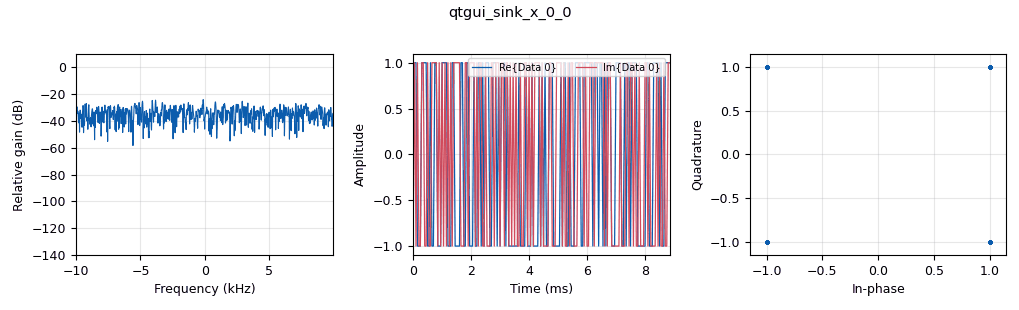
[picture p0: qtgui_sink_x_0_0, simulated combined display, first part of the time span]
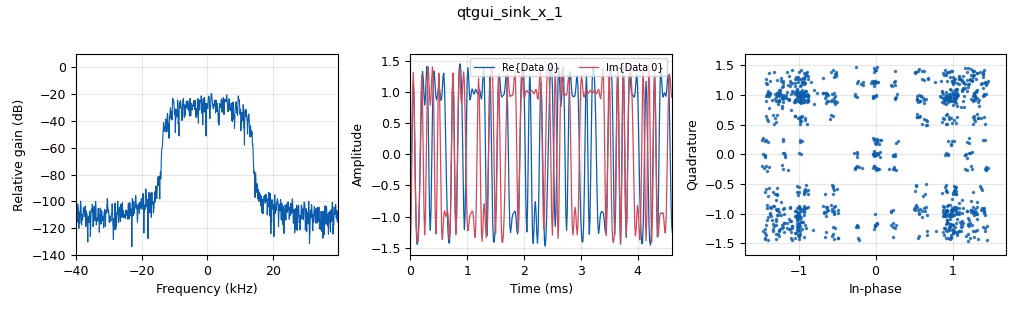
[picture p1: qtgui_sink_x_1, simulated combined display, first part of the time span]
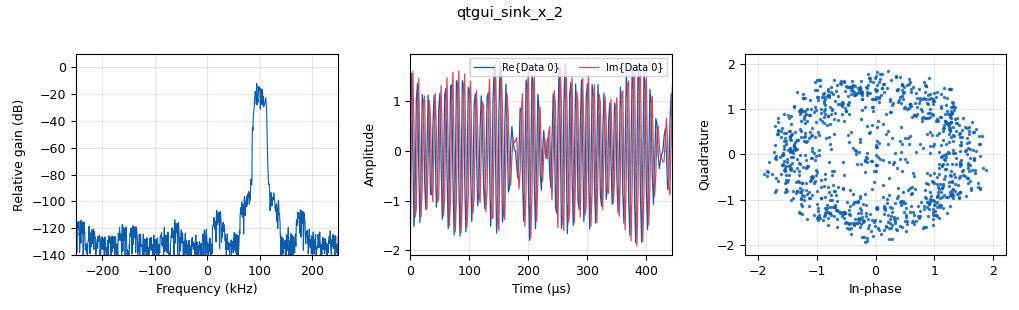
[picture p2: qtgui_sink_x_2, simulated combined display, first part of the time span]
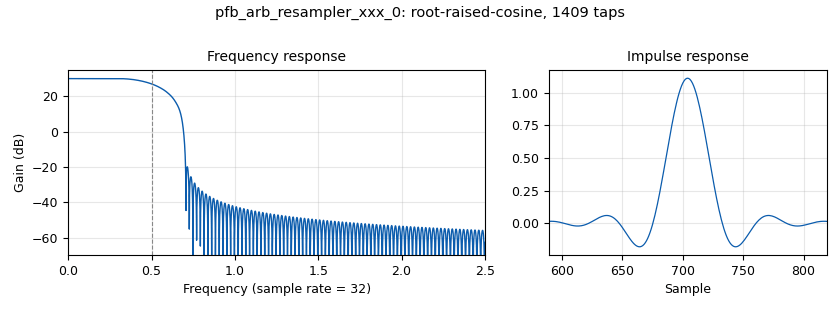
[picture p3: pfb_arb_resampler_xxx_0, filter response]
<?xml version='1.0' encoding='utf-8'?>
<?grc format='1' created='3.7.13'?>
<flow_graph>
<block>
<key>options</key>
<param><key>id</key><value>top_block</value></param>
<param><key>generate_options</key><value>qt_gui</value></param>
</block>
<block>
<key>variable</key>
<param><key>id</key><value>const_points</value></param>
<param><key>value</key><value>4</value></param>
</block>
<block>
<key>variable</key>
<param><key>id</key><value>excess_bw</value></param>
<param><key>value</key><value>0.4</value></param>
</block>
<block>
<key>variable</key>
<param><key>id</key><value>nfilts</value></param>
<param><key>value</key><value>32</value></param>
</block>
<block>
<key>variable</key>
<param><key>id</key><value>ntaps</value></param>
<param><key>value</key><value>11*nfilts*sps</value></param>
</block>
<block>
<key>variable</key>
<param><key>id</key><value>samp_rate</value></param>
<param><key>value</key><value>20000</value></param>
</block>
<block>
<key>variable</key>
<param><key>id</key><value>sps</value></param>
<param><key>value</key><value>4</value></param>
</block>
<block>
<key>variable</key>
<param><key>id</key><value>tx_taps</value></param>
<param><key>value</key><value>firdes.root_raised_cosine(nfilts, nfilts, 1.0, excess_bw, ntaps)</value></param>
</block>
<block>
<key>analog_random_source_x</key>
<param><key>id</key><value>analog_random_source_x_0</value></param>
<param><key>max</key><value>const_points</value></param>
<param><key>min</key><value>0</value></param>
<param><key>num_samps</key><value>1000</value></param>
<param><key>type</key><value>byte</value></param>
<param><key>repeat</key><value>True</value></param>
</block>
<block>
<key>analog_sig_source_x</key>
<param><key>id</key><value>analog_sig_source_x_0</value></param>
<param><key>amp</key><value>1</value></param>
<param><key>freq</key><value>100e3</value></param>
<param><key>offset</key><value>0</value></param>
<param><key>type</key><value>complex</value></param>
<param><key>samp_rate</key><value>500e3</value></param>
<param><key>waveform</key><value>analog.GR_COS_WAVE</value></param>
</block>
<block>
<key>blocks_complex_to_real</key>
<param><key>id</key><value>blocks_complex_to_real_0</value></param>
</block>
<block>
<key>blocks_file_sink</key>
<param><key>id</key><value>blocks_file_sink_0</value></param>
<param><key>file</key><value>D:\drbha\main\sem5_iitb_material\ee340_comms_lab\GNU_Radio_practice\output1.bin</value></param>
<param><key>type</key><value>float</value></param>
</block>
<block>
<key>blocks_multiply_xx</key>
<param><key>id</key><value>blocks_multiply_xx_0</value></param>
<param><key>type</key><value>complex</value></param>
</block>
<block>
<key>blocks_throttle</key>
<param><key>id</key><value>blocks_throttle_0</value></param>
<param><key>samples_per_second</key><value>500e3</value></param>
<param><key>type</key><value>complex</value></param>
</block>
<block>
<key>blocks_throttle</key>
<param><key>id</key><value>blocks_throttle_0_0</value></param>
<param><key>samples_per_second</key><value>20e3</value></param>
<param><key>type</key><value>complex</value></param>
</block>
<block>
<key>blocks_throttle</key>
<param><key>id</key><value>blocks_throttle_1</value></param>
<param><key>samples_per_second</key><value>samp_rate*4</value></param>
<param><key>type</key><value>complex</value></param>
</block>
<block>
<key>digital_chunks_to_symbols_xx</key>
<param><key>id</key><value>digital_chunks_to_symbols_xx_0</value></param>
<param><key>dimension</key><value>1</value></param>
<param><key>in_type</key><value>byte</value></param>
<param><key>out_type</key><value>complex</value></param>
<param><key>symbol_table</key><value>((1-1j),(1+1j),(-1+1j),(-1-1j))</value></param>
</block>
<block>
<key>import</key>
<param><key>id</key><value>import_0</value></param>
<param><key>import</key><value>from math import pi</value></param>
</block>
<block>
<key>import</key>
<param><key>id</key><value>import_0_0</value></param>
<param><key>import</key><value>from gnuradio import digital</value></param>
</block>
<block>
<key>import</key>
<param><key>id</key><value>import_0_0_0</value></param>
<param><key>import</key><value>from gnuradio import filter</value></param>
</block>
<block>
<key>pfb_arb_resampler_xxx</key>
<param><key>id</key><value>pfb_arb_resampler_xxx_0</value></param>
<param><key>nfilts</key><value>32</value></param>
<param><key>rrate</key><value>sps</value></param>
<param><key>atten</key><value>100</value></param>
<param><key>taps</key><value>tx_taps</value></param>
<param><key>type</key><value>ccf</value></param>
</block>
<block>
<key>qtgui_sink_x</key>
<param><key>id</key><value>qtgui_sink_x_0_0</value></param>
<param><key>bw</key><value>samp_rate</value></param>
<param><key>fc</key><value>0</value></param>
<param><key>freqchangevar</key><value>None</value></param>
<param><key>fftsize</key><value>1024</value></param>
<param><key>showports</key><value>True</value></param>
<param><key>type</key><value>complex</value></param>
<param><key>wintype</key><value>firdes.WIN_BLACKMAN_hARRIS</value></param>
</block>
<block>
<key>qtgui_sink_x</key>
<param><key>id</key><value>qtgui_sink_x_1</value></param>
<param><key>bw</key><value>samp_rate*4</value></param>
<param><key>fc</key><value>0</value></param>
<param><key>freqchangevar</key><value>None</value></param>
<param><key>fftsize</key><value>1024</value></param>
<param><key>showports</key><value>True</value></param>
<param><key>type</key><value>complex</value></param>
<param><key>wintype</key><value>firdes.WIN_BLACKMAN_hARRIS</value></param>
</block>
<block>
<key>qtgui_sink_x</key>
<param><key>id</key><value>qtgui_sink_x_2</value></param>
<param><key>bw</key><value>samp_rate*25</value></param>
<param><key>fc</key><value>0</value></param>
<param><key>freqchangevar</key><value>None</value></param>
<param><key>fftsize</key><value>1024</value></param>
<param><key>showports</key><value>True</value></param>
<param><key>type</key><value>complex</value></param>
<param><key>wintype</key><value>firdes.WIN_BLACKMAN_hARRIS</value></param>
</block>
<block>
<key>rational_resampler_xxx</key>
<param><key>id</key><value>rational_resampler_xxx_0</value></param>
<param><key>decim</key><value>sps</value></param>
<param><key>interp</key><value>25</value></param>
<param><key>taps</key><value></value></param>
<param><key>type</key><value>ccc</value></param>
</block>
<connection><source_block_id>analog_random_source_x_0</source_block_id><sink_block_id>digital_chunks_to_symbols_xx_0</sink_block_id><source_key>0</source_key><sink_key>0</sink_key></connection>
<connection><source_block_id>analog_sig_source_x_0</source_block_id><sink_block_id>blocks_multiply_xx_0</sink_block_id><source_key>0</source_key><sink_key>1</sink_key></connection>
<connection><source_block_id>blocks_complex_to_real_0</source_block_id><sink_block_id>blocks_file_sink_0</sink_block_id><source_key>0</source_key><sink_key>0</sink_key></connection>
<connection><source_block_id>blocks_multiply_xx_0</source_block_id><sink_block_id>blocks_throttle_0</sink_block_id><source_key>0</source_key><sink_key>0</sink_key></connection>
<connection><source_block_id>blocks_throttle_0</source_block_id><sink_block_id>blocks_complex_to_real_0</sink_block_id><source_key>0</source_key><sink_key>0</sink_key></connection>
<connection><source_block_id>blocks_throttle_0</source_block_id><sink_block_id>qtgui_sink_x_2</sink_block_id><source_key>0</source_key><sink_key>0</sink_key></connection>
<connection><source_block_id>blocks_throttle_0_0</source_block_id><sink_block_id>qtgui_sink_x_0_0</sink_block_id><source_key>0</source_key><sink_key>0</sink_key></connection>
<connection><source_block_id>blocks_throttle_1</source_block_id><sink_block_id>qtgui_sink_x_1</sink_block_id><source_key>0</source_key><sink_key>0</sink_key></connection>
<connection><source_block_id>digital_chunks_to_symbols_xx_0</source_block_id><sink_block_id>blocks_throttle_0_0</sink_block_id><source_key>0</source_key><sink_key>0</sink_key></connection>
<connection><source_block_id>digital_chunks_to_symbols_xx_0</source_block_id><sink_block_id>pfb_arb_resampler_xxx_0</sink_block_id><source_key>0</source_key><sink_key>0</sink_key></connection>
<connection><source_block_id>pfb_arb_resampler_xxx_0</source_block_id><sink_block_id>blocks_throttle_1</sink_block_id><source_key>0</source_key><sink_key>0</sink_key></connection>
<connection><source_block_id>pfb_arb_resampler_xxx_0</source_block_id><sink_block_id>rational_resampler_xxx_0</sink_block_id><source_key>0</source_key><sink_key>0</sink_key></connection>
<connection><source_block_id>rational_resampler_xxx_0</source_block_id><sink_block_id>blocks_multiply_xx_0</sink_block_id><source_key>0</source_key><sink_key>0</sink_key></connection>
</flow_graph>
